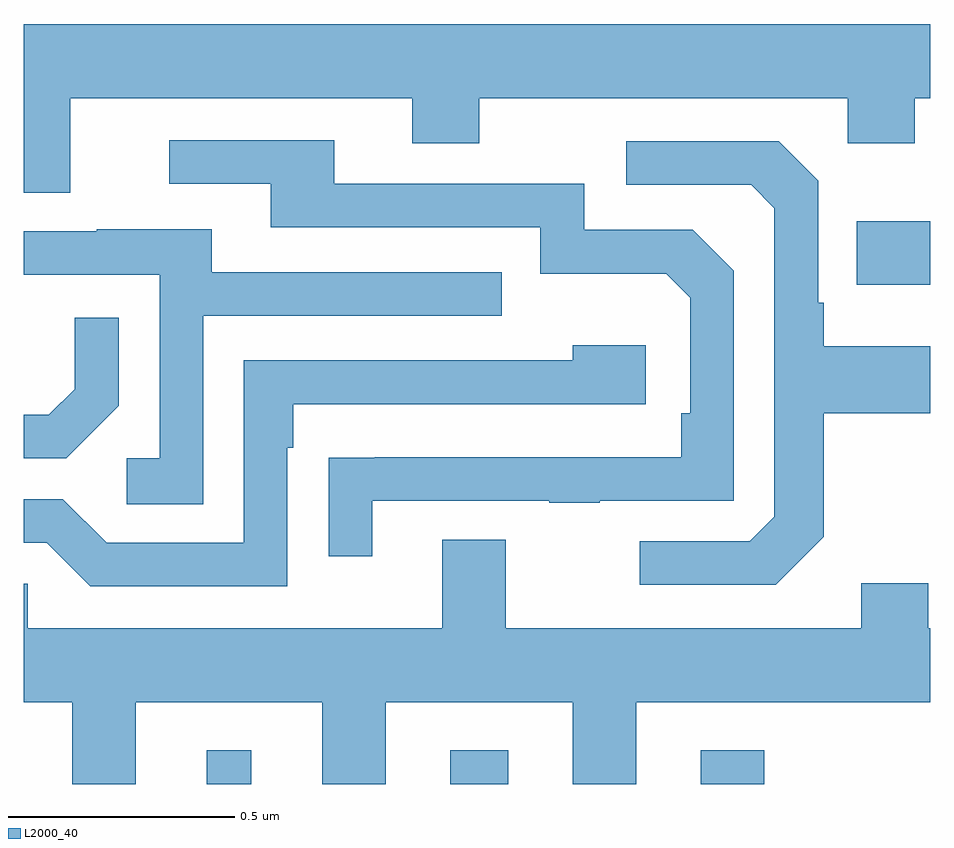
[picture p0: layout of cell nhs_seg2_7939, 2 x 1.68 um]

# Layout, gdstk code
import gdstk
lib = gdstk.Library(unit=1e-6, precision=1e-09)
def R(c, l, rs):  # rectangles x0, y0, x1, y1
    for r in rs: c.add(gdstk.rectangle(r[:2], r[2:], *l))
def P(c, l, *ps):  # polygons
    for p in ps: c.add(gdstk.Polygon(p, *l))
L2000_40 = (2000, 40)

nhs_seg2_7939 = lib.new_cell('nhs_seg2_7939')
R(nhs_seg2_7939, L2000_40, [(210.404,636.8,210.502,636.874), (210.941,636.8,211.069,636.874), (211.493,636.8,211.634,636.874), (211.837,637.901,212,638.041)])
P(nhs_seg2_7939, L2000_40, [(210.103,638.312),(210.857,638.312),(210.857,638.213),(211.005,638.213),(211.005,638.312),(211.818,638.312),(211.818,638.213),(211.965,638.213),(211.965,638.312),(212,638.312),(212,638.476),(210,638.476),(210,638.104),(210.103,638.104)],
  [(210.769,637.425),(211.159,637.425),(211.159,637.42),(211.271,637.42),(211.271,637.425),(211.566,637.425),(211.566,637.932),(211.476,638.022),(211.236,638.022),(211.236,638.124),(210.685,638.124),(210.685,638.22),(210.321,638.22),(210.321,638.124),(210.545,638.124),(210.545,638.028),(211.14,638.028),(211.14,637.925),(211.417,637.925),(211.47,637.872),(211.47,637.618),(211.45,637.618),(211.45,637.521),(210.775,637.521),(210.775,637.52),(210.673,637.52),(210.673,637.302),(210.769,637.302)],
  [(211.765,637.345),(211.765,637.618),(212,637.618),(212,637.765),(211.765,637.765),(211.765,637.861),(211.752,637.861),(211.752,638.13),(211.665,638.217),(211.329,638.217),(211.329,638.121),(211.605,638.121),(211.656,638.07),(211.656,637.389),(211.602,637.335),(211.359,637.335),(211.359,637.239),(211.659,637.239)],
  [(210.396,637.833),(211.055,637.833),(211.055,637.929),(210.415,637.929),(210.415,638.023),(210.161,638.023),(210.161,638.019),(210,638.019),(210,637.923),(210.3,637.923),(210.3,637.518),(210.228,637.518),(210.228,637.417),(210.396,637.417)],
  [(210.21,637.634),(210.21,637.828),(210.113,637.828),(210.113,637.671),(210.056,637.614),(210,637.614),(210,637.518),(210.094,637.518)],
  [(210.582,637.541),(210.595,637.541),(210.595,637.638),(211.372,637.638),(211.372,637.768),(211.211,637.768),(211.211,637.734),(210.486,637.734),(210.486,637.332),(210.183,637.332),(210.087,637.428),(210,637.428),(210,637.332),(210.051,637.332),(210.147,637.236),(210.582,637.236)],
  [(210.247,636.98),(210.659,636.98),(210.659,636.8),(210.799,636.8),(210.799,636.98),(211.211,636.98),(211.211,636.8),(211.351,636.8),(211.351,636.98),(212,636.98),(212,637.144),(211.995,637.144),(211.995,637.243),(211.847,637.243),(211.847,637.144),(211.063,637.144),(211.063,637.339),(210.923,637.339),(210.923,637.144),(210.009,637.144),(210.009,637.242),(210,637.242),(210,636.98),(210.107,636.98),(210.107,636.8),(210.247,636.8)])

lib.write_gds('nhs_seg2_7939.gds')
